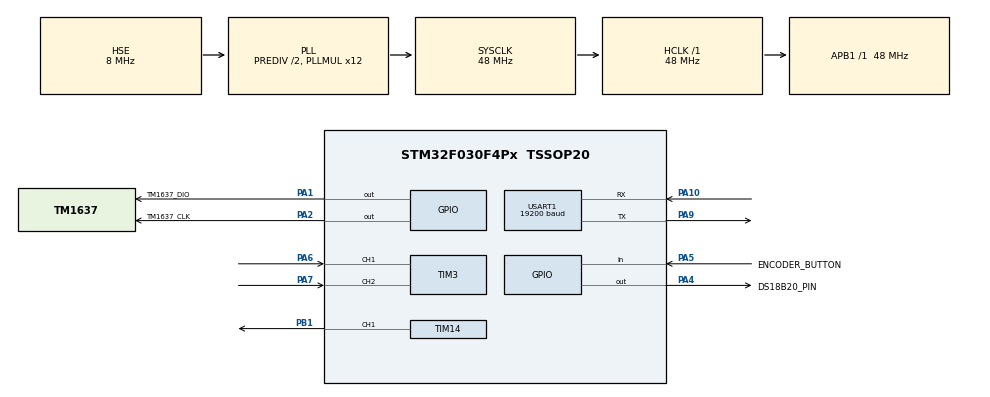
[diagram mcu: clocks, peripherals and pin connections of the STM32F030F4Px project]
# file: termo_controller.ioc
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Mcu.Family=STM32F0
Mcu.Name=STM32F030F4Px
Mcu.Package=TSSOP20
NVIC.TIM3_IRQn=true\:0\:0\:false\:false\:true\:true\:true\:true
NVIC.USART1_IRQn=true\:0\:0\:false\:false\:true\:true\:true\:true
PA1.GPIO_Label=TM1637_DIO
PA1.Signal=GPIO_Output
PA10.Mode=Asynchronous
PA10.Signal=USART1_RX
PA2.GPIO_Label=TM1637_CLK
PA2.Signal=GPIO_Output
PA4.GPIO_Label=DS18B20_PIN
PA4.GPIO_PuPd=GPIO_PULLUP
PA4.Signal=GPIO_Output
PA5.GPIO_Label=ENCODER_BUTTON
PA5.Signal=GPIO_Input
PA6.Signal=S_TIM3_CH1
PA7.Signal=S_TIM3_CH2
PA9.Mode=Asynchronous
PA9.Signal=USART1_TX
PB1.Signal=S_TIM14_CH1
PF0-OSC_IN.Mode=HSE-External-Oscillator
PF0-OSC_IN.Signal=RCC_OSC_IN
PF1-OSC_OUT.Mode=HSE-External-Oscillator
PF1-OSC_OUT.Signal=RCC_OSC_OUT
ProjectManager.HeapSize=0x200
ProjectManager.StackSize=0x400
ProjectManager.TargetToolchain=STM32CubeIDE
RCC.AHBFreq_Value=48000000
RCC.APB1Freq_Value=48000000
RCC.APB1TimFreq_Value=48000000
RCC.HCLKFreq_Value=48000000
RCC.PLLDivider=RCC_PREDIV_DIV2
RCC.PLLMUL=RCC_PLL_MUL12
RCC.PLLSourceVirtual=RCC_PLLSOURCE_HSE
RCC.SYSCLKFreq_VALUE=48000000
RCC.SYSCLKSource=RCC_SYSCLKSOURCE_PLLCLK
SH.S_TIM14_CH1.0=TIM14_CH1,PWM Generation1 CH1
SH.S_TIM3_CH1.0=TIM3_CH1,Encoder_Interface
SH.S_TIM3_CH2.0=TIM3_CH2,Encoder_Interface
TIM14.Channel=TIM_CHANNEL_1
USART1.BaudRate=19200
USART1.StopBits=STOPBITS_2
USART1.VirtualMode-Asynchronous=VM_ASYNC
VP_TIM14_VS_ClockSourceINT.Mode=Enable_Timer
board=custom

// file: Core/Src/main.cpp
/* USER CODE BEGIN Header */
/**
  ******************************************************************************
  * @file           : main.c
  * @brief          : Main program body
  ******************************************************************************
  * @attention
  *
  * Copyright (c) 2022 STMicroelectronics.
  * All rights reserved.
  *
  * This software is licensed under terms that can be found in the LICENSE file
  * in the root directory of this software component.
  * If no LICENSE file comes with this software, it is provided AS-IS.
  *
  ******************************************************************************
  */
/* USER CODE END Header */
#include "main.h"

/* USER CODE BEGIN Includes */
#include "ds18b20.h"
#include "tm1637.h"
#include "delay_micros.h"
#include "global_var.h"
#include "periph_functions.h"
#include "out_pins.h"
#include "button.h"
#include "math_functions.h"
/* USER CODE END Includes */

/* USER CODE BEGIN PTD */
typedef struct {
	uint8_t tx_buf[255];
	uint8_t tx_len;
	uint8_t rx_buf[255];
	uint8_t rx_len;
	uint32_t baudrate;
	uint8_t tx_counter;
}uartStr;
/* USER CODE END PTD */

 TIM_HandleTypeDef htim3;
TIM_HandleTypeDef htim14;

UART_HandleTypeDef huart1;

/* USER CODE BEGIN PV */
globalVar global_var;
OutPinsStruct pwm_pin;
//button pa_5(GPIOA->IDR, GPIO_IDR_5);
uint8_t dt[8];
uint16_t raw_temper;
char c;
uint8_t uart_reseive_value;
uartStr modbus_uart;

bool set_flag = false;
bool get_time_flag = false;
char TempDisp[4] = { 0, };
uint32_t begin;
uint32_t end;

/* USER CODE END PV */

void SystemClock_Config(void);
static void MX_GPIO_Init(void);
static void MX_TIM3_Init(void);
static void MX_TIM14_Init(void);
static void MX_USART1_UART_Init(void);

/* USER CODE BEGIN 0 */

//main callback 1kHz
extern "C" void TIM16_IRQHandler()
{
	TIM16->CNT = 0;
	TIM16->SR = 0;

	uint8_t status = ds18b20_init(SKIP_ROM);
	ds18b20_MeasureTemperCmd(SKIP_ROM, 0);
	ds18b20_ReadStratcpad(SKIP_ROM, dt, 0);
	raw_temper = ((uint16_t)dt[1] << 8) | dt[0];
	if (ds18b20_GetSign(raw_temper)) c = '-';
	else c = '+';
	global_var.regulator_pin.fb.temperature.value.all = _IQ24(ds18b20_Convert(raw_temper));

	outPinsUpdate(&global_var, &pwm_pin);

}

void HAL_UART_TxCpltCallback(UART_HandleTypeDef *huart)
{
          if(huart == &huart1)
          {

          }
}

void HAL_UART_RxCpltCallback(UART_HandleTypeDef *huart)
{
          if(huart == &huart1)
          {
        	  HAL_UART_Receive_IT(&huart1, (uint8_t*)&uart_reseive_value, 1);
          }
}

extern "C" void TIM17_IRQHandler()
{
	if (TIM17->SR & TIM_SR_UIF) {

		TIM17->CNT = 0;
		TIM17->SR = 0;

	}
}

extern "C" void TIM3_IRQHandler(void)
{
	TIM3->SR &= ~TIM_SR_UIF;
	if ((TIM3->CR1)&TIM_CR1_DIR)
	{
		//menu.up();
		global_var.temperature.value.all += _IQ24(1.);

	}
	else
	{
		global_var.temperature.value.all -= _IQ24(1.);
		if (global_var.temperature.value.all < 0)
		{
			global_var.temperature.value.all = 0;
		}
	}

	set_flag = true;
	get_time_flag = true;
	get_time_flag = false;
	begin = HAL_GetTick();

	end = begin + 1000;
	TempDisp[3] = global_var.temperature.value.all % 10;
	TempDisp[2] = global_var.temperature.value.all / 10;
	display_mass((int8_t*)TempDisp);
}
/* USER CODE END 0 */

int main(void)
{

  /* MCU Configuration--------------------------------------------------------*/

  /* Reset of all peripherals, Initializes the Flash interface and the Systick. */
  HAL_Init();

  /* Configure the system clock */
  SystemClock_Config();

  /* Initialize all configured peripherals */
  MX_GPIO_Init();
  MX_TIM3_Init();
  MX_TIM14_Init();
  MX_USART1_UART_Init();
  /* USER CODE BEGIN 2 */
  slowFlowInit();
  outPinsInit(&global_var, &pwm_pin);
  globalVarInit(&global_var, 1000);

	HAL_UART_Receive_IT(&huart1, (uint8_t*)&uart_reseive_value, 1);
  /* USER CODE END 2 */

  /* Infinite loop */
  while (1)
  {
//	  if(pa_5.isPressed())
//	  {
//
//	  }
  }
}

void SystemClock_Config(void)
{
  RCC_OscInitTypeDef RCC_OscInitStruct = {0};
  RCC_ClkInitTypeDef RCC_ClkInitStruct = {0};
  RCC_PeriphCLKInitTypeDef PeriphClkInit = {0};

  /** Initializes the RCC Oscillators according to the specified parameters
  * in the RCC_OscInitTypeDef structure.
  */
  RCC_OscInitStruct.OscillatorType = RCC_OSCILLATORTYPE_HSE;
  RCC_OscInitStruct.HSEState = RCC_HSE_ON;
  RCC_OscInitStruct.PLL.PLLState = RCC_PLL_ON;
  RCC_OscInitStruct.PLL.PLLSource = RCC_PLLSOURCE_HSE;
  RCC_OscInitStruct.PLL.PLLMUL = RCC_PLL_MUL12;
  RCC_OscInitStruct.PLL.PREDIV = RCC_PREDIV_DIV2;
  if (HAL_RCC_OscConfig(&RCC_OscInitStruct) != HAL_OK)
  {
    Error_Handler();
  }

  /** Initializes the CPU, AHB and APB buses clocks
  */
  RCC_ClkInitStruct.ClockType = RCC_CLOCKTYPE_HCLK|RCC_CLOCKTYPE_SYSCLK
                              |RCC_CLOCKTYPE_PCLK1;
  RCC_ClkInitStruct.SYSCLKSource = RCC_SYSCLKSOURCE_PLLCLK;
  RCC_ClkInitStruct.AHBCLKDivider = RCC_SYSCLK_DIV1;
  RCC_ClkInitStruct.APB1CLKDivider = RCC_HCLK_DIV1;

  if (HAL_RCC_ClockConfig(&RCC_ClkInitStruct, FLASH_LATENCY_1) != HAL_OK)
  {
    Error_Handler();
  }
  PeriphClkInit.PeriphClockSelection = RCC_PERIPHCLK_USART1;
  PeriphClkInit.Usart1ClockSelection = RCC_USART1CLKSOURCE_PCLK1;
  if (HAL_RCCEx_PeriphCLKConfig(&PeriphClkInit) != HAL_OK)
  {
    Error_Handler();
  }
}

static void MX_TIM3_Init(void)
{

  TIM_Encoder_InitTypeDef sConfig = {0};
  TIM_MasterConfigTypeDef sMasterConfig = {0};

  htim3.Instance = TIM3;
  htim3.Init.Prescaler = 0;
  htim3.Init.CounterMode = TIM_COUNTERMODE_UP;
  htim3.Init.Period = 65535;
  htim3.Init.ClockDivision = TIM_CLOCKDIVISION_DIV1;
  htim3.Init.AutoReloadPreload = TIM_AUTORELOAD_PRELOAD_DISABLE;
  sConfig.EncoderMode = TIM_ENCODERMODE_TI1;
  sConfig.IC1Polarity = TIM_ICPOLARITY_RISING;
  sConfig.IC1Selection = TIM_ICSELECTION_DIRECTTI;
  sConfig.IC1Prescaler = TIM_ICPSC_DIV1;
  sConfig.IC1Filter = 0;
  sConfig.IC2Polarity = TIM_ICPOLARITY_RISING;
  sConfig.IC2Selection = TIM_ICSELECTION_DIRECTTI;
  sConfig.IC2Prescaler = TIM_ICPSC_DIV1;
  sConfig.IC2Filter = 0;
  if (HAL_TIM_Encoder_Init(&htim3, &sConfig) != HAL_OK)
  {
    Error_Handler();
  }
  sMasterConfig.MasterOutputTrigger = TIM_TRGO_RESET;
  sMasterConfig.MasterSlaveMode = TIM_MASTERSLAVEMODE_DISABLE;
  if (HAL_TIMEx_MasterConfigSynchronization(&htim3, &sMasterConfig) != HAL_OK)
  {
    Error_Handler();
  }

}

static void MX_TIM14_Init(void)
{

  TIM_OC_InitTypeDef sConfigOC = {0};

  htim14.Instance = TIM14;
  htim14.Init.Prescaler = 0;
  htim14.Init.CounterMode = TIM_COUNTERMODE_UP;
  htim14.Init.Period = 65535;
  htim14.Init.ClockDivision = TIM_CLOCKDIVISION_DIV1;
  htim14.Init.AutoReloadPreload = TIM_AUTORELOAD_PRELOAD_DISABLE;
  if (HAL_TIM_Base_Init(&htim14) != HAL_OK)
  {
    Error_Handler();
  }
  if (HAL_TIM_PWM_Init(&htim14) != HAL_OK)
  {
    Error_Handler();
  }
  sConfigOC.OCMode = TIM_OCMODE_PWM1;
  sConfigOC.Pulse = 0;
  sConfigOC.OCPolarity = TIM_OCPOLARITY_HIGH;
  sConfigOC.OCFastMode = TIM_OCFAST_DISABLE;
  if (HAL_TIM_PWM_ConfigChannel(&htim14, &sConfigOC, TIM_CHANNEL_1) != HAL_OK)
  {
    Error_Handler();
  }
  HAL_TIM_MspPostInit(&htim14);

}

static void MX_USART1_UART_Init(void)
{

  huart1.Instance = USART1;
  huart1.Init.BaudRate = 19200;
  huart1.Init.WordLength = UART_WORDLENGTH_8B;
  huart1.Init.StopBits = UART_STOPBITS_2;
  huart1.Init.Parity = UART_PARITY_NONE;
  huart1.Init.Mode = UART_MODE_TX_RX;
  huart1.Init.HwFlowCtl = UART_HWCONTROL_NONE;
  huart1.Init.OverSampling = UART_OVERSAMPLING_16;
  huart1.Init.OneBitSampling = UART_ONE_BIT_SAMPLE_DISABLE;
  huart1.AdvancedInit.AdvFeatureInit = UART_ADVFEATURE_NO_INIT;
  if (HAL_UART_Init(&huart1) != HAL_OK)
  {
    Error_Handler();
  }

}

static void MX_GPIO_Init(void)
{
  GPIO_InitTypeDef GPIO_InitStruct = {0};

  /* GPIO Ports Clock Enable */
  __HAL_RCC_GPIOF_CLK_ENABLE();
  __HAL_RCC_GPIOA_CLK_ENABLE();
  __HAL_RCC_GPIOB_CLK_ENABLE();

  /*Configure GPIO pin Output Level */
  HAL_GPIO_WritePin(GPIOA, TM1637_DIO_Pin|TM1637_CLK_Pin|DS18B20_PIN_Pin, GPIO_PIN_RESET);

  /*Configure GPIO pins : TM1637_DIO_Pin TM1637_CLK_Pin */
  GPIO_InitStruct.Pin = TM1637_DIO_Pin|TM1637_CLK_Pin;
  GPIO_InitStruct.Mode = GPIO_MODE_OUTPUT_PP;
  GPIO_InitStruct.Pull = GPIO_NOPULL;
  GPIO_InitStruct.Speed = GPIO_SPEED_FREQ_LOW;
  HAL_GPIO_Init(GPIOA, &GPIO_InitStruct);

  /*Configure GPIO pin : DS18B20_PIN_Pin */
  GPIO_InitStruct.Pin = DS18B20_PIN_Pin;
  GPIO_InitStruct.Mode = GPIO_MODE_OUTPUT_PP;
  GPIO_InitStruct.Pull = GPIO_PULLUP;
  GPIO_InitStruct.Speed = GPIO_SPEED_FREQ_LOW;
  HAL_GPIO_Init(DS18B20_PIN_GPIO_Port, &GPIO_InitStruct);

  /*Configure GPIO pin : ENCODER_BUTTON_Pin */
  GPIO_InitStruct.Pin = ENCODER_BUTTON_Pin;
  GPIO_InitStruct.Mode = GPIO_MODE_INPUT;
  GPIO_InitStruct.Pull = GPIO_NOPULL;
  HAL_GPIO_Init(ENCODER_BUTTON_GPIO_Port, &GPIO_InitStruct);

}

/* USER CODE BEGIN 4 */
static void MX_TIM17_Init(void)
{
	RCC->APB2ENR |= RCC_APB2ENR_TIM16EN;
	/* T=10ms */
	TIM16->PSC = 48 - 1;
	TIM16->ARR = 200 - 1;
	/* Update Interrupt Enable */
	TIM16->DIER |= TIM_DIER_UIE;
	/* Counter enable */
	TIM16->CR1 |= TIM_CR1_CEN;
	/* Tim11 Interrupt enable */
	NVIC_EnableIRQ(TIM16_IRQn);
}
/* USER CODE END 4 */

void Error_Handler(void)
{
  __disable_irq();
  while (1)
  {
  }
}
